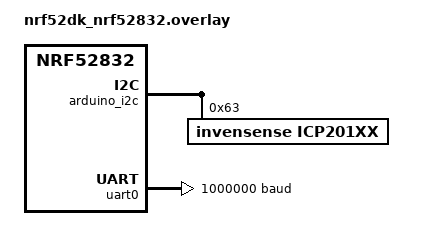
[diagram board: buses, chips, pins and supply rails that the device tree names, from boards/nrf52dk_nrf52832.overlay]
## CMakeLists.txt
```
#
# Copyright (c) 2024 TDK Invensense
#
# SPDX-License-Identifier: Apache-2.0
#

cmake_minimum_required(VERSION 3.28.0)
find_package(Zephyr REQUIRED HINTS $ENV{ZEPHYR_BASE})
project(pressure_polling)

FILE(GLOB app_sources src/*.c)
target_sources(app PRIVATE ${app_sources})
```

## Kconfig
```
# Copyright (c) 2024, TDK Invensense
# SPDX-License-Identifier: Apache-2.0

config LOG
	default y

config LOG_PRINTK
	default y

config SENSOR_LOG_LEVEL
	default 4

source "Kconfig.zephyr"
```

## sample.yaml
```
sample:
  name: Pressure polling sample
tests:
  sample.sensor.pressure_sensor:
    build_only: true
    tags: sensors
    filter: dt_alias_exists("pressure-sensor")
    integration_platforms:
      - nrf52dk/nrf52832
      - adafruit_qt_py_rp2040/rp2040       # adafruit_dps310 shield
      - adafruit_feather_rp2040/rp2040       # adafruit_lps22 shield
      - mikroe_clicker_ra4m1/r7fa4m1ab3cfm # mikroe_pressure_3_click shield
    extra_args:
      - platform:adafruit_qt_py_rp2040/rp2040:SHIELD="adafruit_dps310"
      - platform:adafruit_feather_rp2040/rp2040:SHIELD="adafruit_lps22"
      - platform:mikroe_clicker_ra4m1/r7fa4m1ab3cfm:SHIELD="mikroe_pressure_3_click"
```

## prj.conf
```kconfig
#
# Copyright (c) 2024 TDK Invensense
#
# SPDX-License-Identifier: Apache-2.0
#

CONFIG_SENSOR=y

# Floating point format support
# Selecting this increases stack size requirements slightly, but increases code size significantly.
CONFIG_CBPRINTF_FP_SUPPORT=y

# Buffer size for console. The defaults are optimized to save RAM
CONFIG_CONSOLE_SUBSYS=y
CONFIG_CONSOLE_GETCHAR=y
CONFIG_CONSOLE_GETCHAR_BUFSIZE=16
CONFIG_CONSOLE_PUTCHAR_BUFSIZE=512
```

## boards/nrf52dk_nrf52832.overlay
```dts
/*
 * Copyright (c) 2024, TDK Invensense
 *
 * SPDX-License-Identifier: Apache-2.0
 */

/*
 * Get a node identifier for pressure sensor.
 */
/ {
	aliases {
		pressure-sensor = &icp201xx;
	};
};

/*
 * Example configuration of a icp201xx device on an Arduino I2C bus.
 *
 * Device address 0x63 is assumed. Your device may have a different
 * address; check your device documentation if unsure.
 */
&arduino_i2c {
	status = "okay";

	icp201xx: icp201xx@63 {
		compatible = "invensense,icp201xx";
		reg = <0x63>;
	};
};

/*
 * Increase native UART speed to report sensor data.
 */
&uart0 {
	compatible = "nordic,nrf-uarte";
	status = "okay";
	current-speed = <1000000>;
};
```

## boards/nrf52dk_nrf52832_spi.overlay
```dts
/*
 * Copyright (c) 2024, TDK Invensense
 *
 * SPDX-License-Identifier: Apache-2.0
 */

/*
 * Get a node identifier for pressure sensor.
 */
/ {
	aliases {
		pressure-sensor = &icp201xx;
	};
};

/* Example configuration of a ICP2021XX device on an Arduino SPI bus. */
&arduino_spi {
	status = "okay";
	cs-gpios = <&arduino_header 14 GPIO_ACTIVE_LOW>; /* D8 */
	icp201xx: icp201xx@0 {
		compatible = "invensense,icp201xx";
		reg = <0>;
		spi-max-frequency = <500000>; /* conservatively set to 500k */
		drive-strength = "current_4mA_1_8V"; /* Avoid cross talk */
	};
};

/*
 * Increase native UART speed.
 */
&uart0 {
	compatible = "nordic,nrf-uarte";
	status = "okay";
	current-speed = <1000000>;
};
```

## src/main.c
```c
/*
 * Copyright (c) 2024 TDK Invensense
 *
 * SPDX-License-Identifier: Apache-2.0
 */

#include <zephyr/kernel.h>
#include <zephyr/device.h>
#include <zephyr/devicetree.h>
#include <zephyr/drivers/sensor.h>
#include <stdio.h>

/*
 * Get a device structure from a devicetree node from alias
 * "pressure_sensor".
 */
static const struct device *get_pressure_sensor_device(void)
{
	const struct device *const dev = DEVICE_DT_GET(DT_ALIAS(pressure_sensor));

	if (!device_is_ready(dev)) {
		printk("\nError: Device \"%s\" is not ready; "
		       "check the driver initialization logs for errors.\n",
		       dev->name);
		return NULL;
	}

	printk("Found device \"%s\", getting sensor data\n", dev->name);
	return dev;
}

int main(void)
{
	const struct device *dev = get_pressure_sensor_device();
	int ret;

	if (dev == NULL) {
		return 0;
	}
	struct sensor_value pressure;
	struct sensor_value temperature;
	struct sensor_value altitude;

	printk("Starting pressure, temperature and altitude polling sample.\n");

	while (1) {
		if (sensor_sample_fetch_chan(dev, SENSOR_CHAN_ALL) == 0) {
			sensor_channel_get(dev, SENSOR_CHAN_PRESS, &pressure);
			sensor_channel_get(dev, SENSOR_CHAN_AMBIENT_TEMP, &temperature);
			ret = sensor_channel_get(dev, SENSOR_CHAN_ALTITUDE, &altitude);

			printf("temp %.2f Cel, pressure %f kPa",
			       sensor_value_to_double(&temperature),
			       sensor_value_to_double(&pressure));
			if (ret == 0) {
				printf(", altitude %f m", sensor_value_to_double(&altitude));
			}
			printf("\n");
		}

		k_msleep(1000);
	}
	return 0;
}
```
